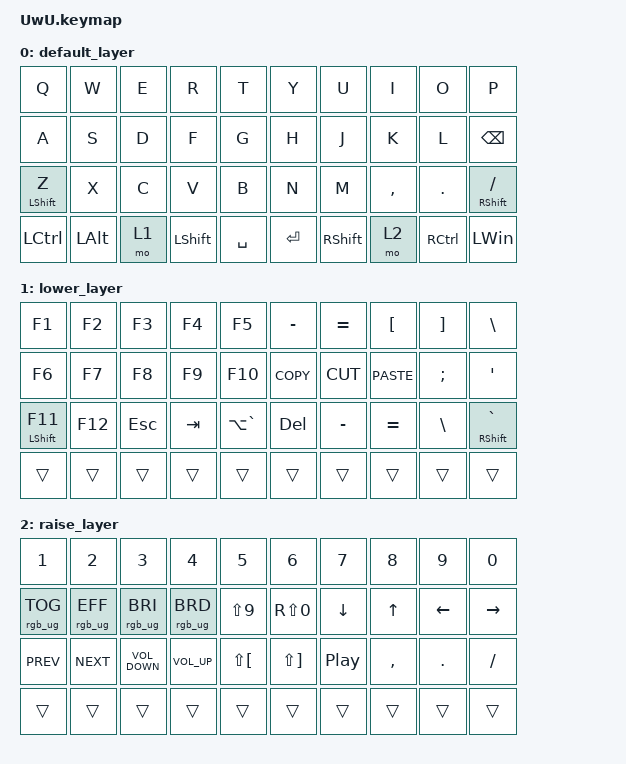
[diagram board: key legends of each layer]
#include <behaviors.dtsi>
#include <dt-bindings/zmk/keys.h>
#include <dt-bindings/zmk/rgb.h>

&led_strip {
    chain-length = <20>;
};

/ {
    keymap {
        compatible = "zmk,keymap";

        default_layer {
            // -------------------------------------------------------------------------------------
            // |   Q   |   W   |   E   |   R   |   T   |   |   Y   |   U   |   I   |   O   |   P   |
            // |   A   |   S   |   D   |   F   |   G   |   |   H   |   J   |   K   |   L   | ENTER |
            // | SFT Z |   X   |   C   |   V   |   B   |   |   N   |   M   |   ,   |   .   | SFT / |
            // | LCTRL |  LALT |  LGUI | LOWER |  BKSP |   | SPACE | RAISE |  RGUI |  APP  | RCTRL |

            bindings = <
&kp Q         &kp W     &kp E  &kp R           &kp T      &kp Y      &kp U            &kp I      &kp O      &kp P
&kp A         &kp S     &kp D  &kp F           &kp G      &kp H      &kp J            &kp K      &kp L      &kp BSPC
&mt LSHIFT Z  &kp X     &kp C  &kp V           &kp B      &kp N      &kp M            &kp COMMA  &kp DOT    &mt RSHIFT SLASH
&kp LCTRL     &kp LALT  &mo 1  &kp LEFT_SHIFT  &kp SPACE  &kp ENTER  &kp RIGHT_SHIFT  &mo 2      &kp RCTRL  &kp LEFT_WIN
            >;
        };

        lower_layer {
            // -----------------------------------------------------------------------------------------
            // | F1  | F2  | F3  | F4  | F5  |   | MIN | EQL |  [  |  ]  |  \  |
            // | F6  | F7  | F8  | F9  | F10 |   |     |     |     |  ;  |QUOTE| 
            // | F11 | F12 | ESC | TAB | LALT|   | DEL |     |     |  RO | GRAVE / SHIFT |
            // |     |     |     |LOWER| BSP |   |     | AJST|     |     |     |   

            bindings = <
&kp F1          &kp F2   &kp F3   &kp F4   &kp F5         &kp MINUS   &kp EQUAL  &kp LBKT     &kp RBKT       &kp BSLH
&kp F6          &kp F7   &kp F8   &kp F9   &kp F10        &kp K_COPY  &kp K_CUT  &kp K_PASTE  &kp SEMI       &kp SQT
&mt LSHIFT F11  &kp F12  &kp ESC  &kp TAB  &kp LA(GRAVE)  &kp DEL     &kp MINUS  &kp EQUAL    &kp BACKSLASH  &mt RSHIFT GRAVE
&trans          &trans   &trans   &trans   &trans         &trans      &trans     &trans       &trans         &trans
            >;
        };

        raise_layer {
            // -----------------------------------------------------------------------------------------
            // |  1  |  2  |  3  |  4  |  5  |   |  6  |  7  |  8  |  9  |  0  |
            // |SHIFT|     |     |     |     |   | LFT | DWN |  UP | RGT |SHIFT|
            // |BTCLR| BT0 | BT1 | BT2 | BT3 |   |MINUS|  RO |COMMA| DOT |SLASH|
            // |     |     |     | AJST|     |   |     |     |     |     |     |

            bindings = <
&kp N1           &kp N2           &kp N3             &kp N4           &kp N5                &kp N6                 &kp N7            &kp N8     &kp N9    &kp N0
&rgb_ug RGB_TOG  &rgb_ug RGB_EFF  &rgb_ug RGB_BRI    &rgb_ug RGB_BRD  &kp LS(N9)            &kp RS(N0)             &kp DOWN          &kp UP     &kp LEFT  &kp RIGHT
&kp C_PREV       &kp C_NEXT       &kp C_VOLUME_DOWN  &kp C_VOLUME_UP  &kp LS(LEFT_BRACKET)  &kp LS(RIGHT_BRACKET)  &kp C_PLAY_PAUSE  &kp COMMA  &kp DOT   &kp FSLH
&trans           &trans           &trans             &trans           &trans                &trans                 &trans            &trans     &trans    &trans
            >;
        };
    };
};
